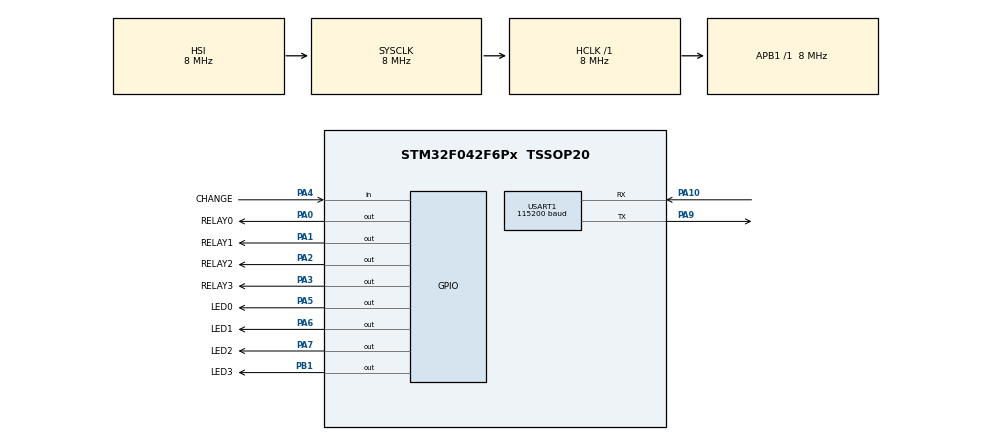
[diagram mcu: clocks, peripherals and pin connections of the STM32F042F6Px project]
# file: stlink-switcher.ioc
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Mcu.Family=STM32F0
Mcu.Name=STM32F042F6Px
Mcu.Package=TSSOP20
PA0.GPIO_Label=RELAY0
PA0.GPIO_ModeDefaultOutputPP=GPIO_MODE_OUTPUT_PP
PA0.GPIO_PuPd=GPIO_PULLDOWN
PA0.PinState=GPIO_PIN_RESET
PA0.Signal=GPIO_Output
PA1.GPIO_Label=RELAY1
PA1.GPIO_ModeDefaultOutputPP=GPIO_MODE_OUTPUT_PP
PA1.GPIO_PuPd=GPIO_PULLDOWN
PA1.PinState=GPIO_PIN_RESET
PA1.Signal=GPIO_Output
PA10.Mode=Asynchronous
PA10.Signal=USART1_RX
PA13.Mode=Serial_Wire
PA13.Signal=SYS_SWDIO
PA14.Mode=Serial_Wire
PA14.Signal=SYS_SWCLK
PA2.GPIO_Label=RELAY2
PA2.GPIO_ModeDefaultOutputPP=GPIO_MODE_OUTPUT_PP
PA2.GPIO_PuPd=GPIO_PULLDOWN
PA2.PinState=GPIO_PIN_RESET
PA2.Signal=GPIO_Output
PA3.GPIO_Label=RELAY3
PA3.GPIO_ModeDefaultOutputPP=GPIO_MODE_OUTPUT_PP
PA3.GPIO_PuPd=GPIO_PULLDOWN
PA3.PinState=GPIO_PIN_RESET
PA3.Signal=GPIO_Output
PA4.GPIO_Label=CHANGE
PA4.GPIO_PuPd=GPIO_PULLUP
PA4.Signal=GPIO_Input
PA5.GPIO_Label=LED0
PA5.GPIO_ModeDefaultOutputPP=GPIO_MODE_OUTPUT_OD
PA5.GPIO_PuPd=GPIO_NOPULL
PA5.PinState=GPIO_PIN_RESET
PA5.Signal=GPIO_Output
PA6.GPIO_Label=LED1
PA6.GPIO_ModeDefaultOutputPP=GPIO_MODE_OUTPUT_OD
PA6.GPIO_PuPd=GPIO_NOPULL
PA6.Signal=GPIO_Output
PA7.GPIO_Label=LED2
PA7.GPIO_ModeDefaultOutputPP=GPIO_MODE_OUTPUT_OD
PA7.GPIO_PuPd=GPIO_NOPULL
PA7.Signal=GPIO_Output
PA9.Mode=Asynchronous
PA9.Signal=USART1_TX
PB1.GPIO_Label=LED3
PB1.GPIO_ModeDefaultOutputPP=GPIO_MODE_OUTPUT_OD
PB1.GPIO_PuPd=GPIO_NOPULL
PB1.Signal=GPIO_Output
ProjectManager.HeapSize=0x200
ProjectManager.StackSize=0x400
ProjectManager.TargetToolchain=Makefile
RCC.AHBFreq_Value=8000000
RCC.APB1Freq_Value=8000000
RCC.APB1TimFreq_Value=8000000
RCC.HCLKFreq_Value=8000000
RCC.PLLMUL=RCC_PLL_MUL4
RCC.SYSCLKFreq_VALUE=8000000
USART1.BaudRate=115200
USART1.VirtualMode=VM_ASYNC
board=custom

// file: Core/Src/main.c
/* USER CODE BEGIN Header */
/**
 ******************************************************************************
 * @file           : main.c
 * @brief          : Main program body
 ******************************************************************************
 * @attention
 *
 * Copyright (c) 2024 STMicroelectronics.
 * All rights reserved.
 *
 * This software is licensed under terms that can be found in the LICENSE file
 * in the root directory of this software component.
 * If no LICENSE file comes with this software, it is provided AS-IS.
 *
 ******************************************************************************
 */
/* USER CODE END Header */
#include "main.h"
#include "usart.h"
#include "gpio.h"

/* USER CODE BEGIN PD */
#define RELAYS_COUNT 4
/* USER CODE END PD */

/* USER CODE BEGIN PM */
#define STR1(x) #x
#define STR(x) STR1(x)

// #define HAL_UART_Transmit(&huart1, text) HAL_UART_Transmit(&huart1, text, strlen(text), 1000, 100);
/* USER CODE END PM */

/* USER CODE BEGIN PV */

GPIO_TypeDef *relayPorts[] = {
    RELAY0_GPIO_Port,
    RELAY1_GPIO_Port,
    RELAY2_GPIO_Port,
    RELAY3_GPIO_Port};

uint16_t relayPins[] = {
    RELAY0_Pin,
    RELAY1_Pin,
    RELAY2_Pin,
    RELAY3_Pin};

GPIO_TypeDef *ledPorts[] = {
    LED0_GPIO_Port,
    LED1_GPIO_Port,
    LED2_GPIO_Port,
    LED3_GPIO_Port};

uint16_t ledPins[] = {
    LED0_Pin,
    LED1_Pin,
    LED2_Pin,
    LED3_Pin};

uint8_t currentlyActiveRelay;
/* USER CODE END PV */

void SystemClock_Config(void);
/* USER CODE BEGIN PFP */
GPIO_PinState reversePinStateIf(GPIO_PinState state, uint8_t reverse)
{
  return reverse ? !state : state;
}

void turnOffAllRelays()
{
  for (int i = 0; i < RELAYS_COUNT; i++)
  {
    HAL_GPIO_WritePin(relayPorts[i], relayPins[i], reversePinStateIf(GPIO_PIN_RESET, i == 0));
    HAL_GPIO_WritePin(ledPorts[i], ledPins[i], GPIO_PIN_SET);
  }
}

void relayWrite(uint8_t relayNo, uint8_t set)
{
  turnOffAllRelays();
  HAL_GPIO_WritePin(relayPorts[relayNo], relayPins[relayNo], reversePinStateIf(set ? GPIO_PIN_SET : GPIO_PIN_RESET, relayNo == 0));
  HAL_GPIO_WritePin(ledPorts[relayNo], ledPins[relayNo], !set ? GPIO_PIN_SET : GPIO_PIN_RESET);
  currentlyActiveRelay = relayNo;
}
/* USER CODE END PFP */

int main(void)
{

  /* MCU Configuration--------------------------------------------------------*/

  /* Reset of all peripherals, Initializes the Flash interface and the Systick. */
  HAL_Init();

  /* Configure the system clock */
  SystemClock_Config();

  /* Initialize all configured peripherals */
  MX_GPIO_Init();
  MX_USART1_UART_Init();

  /* Infinite loop */
  /* USER CODE BEGIN WHILE */
  HAL_UART_Transmit(&huart1, STR(BUILD_ID) "\r\n", 2 + strlen(STR(BUILD_ID)), 100);
  // printf("UID: 0x%08X 0x%08X 0x%08X\r\n", HAL_GetUIDw0(), HAL_GetUIDw1(), HAL_GetUIDw2());

  uint8_t activePin = 0;
  relayWrite(activePin, 1);

  // there is some magic issue and button is pressed right after reset.
  // while (GPIO_PIN_SET == HAL_GPIO_ReadPin(CHANGE_GPIO_Port, CHANGE_Pin))
  HAL_Delay(100);

  char UART1_rxBuffer[1] = {0};
  while (1)
  {

    if (currentlyActiveRelay != activePin)
    {
      relayWrite(activePin, 1);
      HAL_UART_Transmit(&huart1, "change\r\n", 8, 100);
    }

    if (HAL_OK == HAL_UART_Receive(&huart1, UART1_rxBuffer, 1, 50) && UART1_rxBuffer[0] != 0x00)
    {
      HAL_UART_Transmit(&huart1, "got uart data\r\n", 15, 100);
      HAL_UART_Transmit(&huart1, UART1_rxBuffer, 1, 100);
      HAL_UART_Transmit(&huart1, "\r\n", 2, 100);
      switch (UART1_rxBuffer[0])
      {
      case '0':
      case '1':
      case '2':
      case '3':
        HAL_UART_Transmit(&huart1, "activating pin X: X\r\n", 18, 100);
        activePin = UART1_rxBuffer[0] - '0';
        break;
      case '?':
        HAL_UART_Transmit(&huart1, "active pin: X\r\n", 15, 100);
      }
    }

    if (GPIO_PIN_RESET == HAL_GPIO_ReadPin(CHANGE_GPIO_Port, CHANGE_Pin))
    {
      activePin++;
      activePin %= RELAYS_COUNT;
      // debounce
      do
      {
        HAL_Delay(50);
      } while (GPIO_PIN_RESET == HAL_GPIO_ReadPin(CHANGE_GPIO_Port, CHANGE_Pin));
    }

    /* USER CODE END WHILE */

  }
}

void SystemClock_Config(void)
{
  RCC_OscInitTypeDef RCC_OscInitStruct = {0};
  RCC_ClkInitTypeDef RCC_ClkInitStruct = {0};
  RCC_PeriphCLKInitTypeDef PeriphClkInit = {0};

  /** Initializes the RCC Oscillators according to the specified parameters
  * in the RCC_OscInitTypeDef structure.
  */
  RCC_OscInitStruct.OscillatorType = RCC_OSCILLATORTYPE_HSI;
  RCC_OscInitStruct.HSIState = RCC_HSI_ON;
  RCC_OscInitStruct.HSICalibrationValue = RCC_HSICALIBRATION_DEFAULT;
  RCC_OscInitStruct.PLL.PLLState = RCC_PLL_NONE;
  if (HAL_RCC_OscConfig(&RCC_OscInitStruct) != HAL_OK)
  {
    Error_Handler();
  }

  /** Initializes the CPU, AHB and APB buses clocks
  */
  RCC_ClkInitStruct.ClockType = RCC_CLOCKTYPE_HCLK|RCC_CLOCKTYPE_SYSCLK
                              |RCC_CLOCKTYPE_PCLK1;
  RCC_ClkInitStruct.SYSCLKSource = RCC_SYSCLKSOURCE_HSI;
  RCC_ClkInitStruct.AHBCLKDivider = RCC_SYSCLK_DIV1;
  RCC_ClkInitStruct.APB1CLKDivider = RCC_HCLK_DIV1;

  if (HAL_RCC_ClockConfig(&RCC_ClkInitStruct, FLASH_LATENCY_0) != HAL_OK)
  {
    Error_Handler();
  }
  PeriphClkInit.PeriphClockSelection = RCC_PERIPHCLK_USART1;
  PeriphClkInit.Usart1ClockSelection = RCC_USART1CLKSOURCE_PCLK1;
  if (HAL_RCCEx_PeriphCLKConfig(&PeriphClkInit) != HAL_OK)
  {
    Error_Handler();
  }
}

void Error_Handler(void)
{
  __disable_irq();
  while (1)
  {
  }
}
